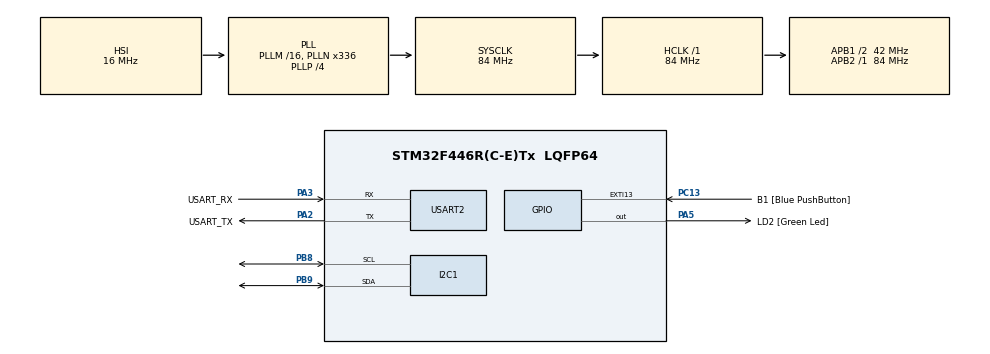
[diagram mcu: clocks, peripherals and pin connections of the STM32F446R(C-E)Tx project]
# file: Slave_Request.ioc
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Dma.I2C1_RX.0.Direction=DMA_PERIPH_TO_MEMORY
Dma.I2C1_RX.0.FIFOMode=DMA_FIFOMODE_DISABLE
Dma.I2C1_RX.0.Instance=DMA1_Stream0
Dma.I2C1_RX.0.MemDataAlignment=DMA_MDATAALIGN_BYTE
Dma.I2C1_RX.0.MemInc=DMA_MINC_ENABLE
Dma.I2C1_RX.0.Mode=DMA_NORMAL
Dma.I2C1_RX.0.PeriphDataAlignment=DMA_PDATAALIGN_BYTE
Dma.I2C1_RX.0.PeriphInc=DMA_PINC_DISABLE
Dma.I2C1_RX.0.Priority=DMA_PRIORITY_LOW
Dma.Request0=I2C1_RX
I2C1.OwnAddress=0x64
Mcu.Family=STM32F4
Mcu.Name=STM32F446R(C-E)Tx
Mcu.Package=LQFP64
NVIC.DMA1_Stream0_IRQn=true\:0\:0\:false\:false\:true\:false\:true\:true
NVIC.I2C1_ER_IRQn=true\:0\:0\:false\:false\:true\:true\:true\:true
NVIC.I2C1_EV_IRQn=true\:0\:0\:false\:false\:true\:true\:true\:true
NVIC.PriorityGroup=NVIC_PRIORITYGROUP_0
PA13.GPIO_Label=TMS
PA13.Mode=Serial_Wire
PA13.Signal=SYS_JTMS-SWDIO
PA14.GPIO_Label=TCK
PA14.Mode=Serial_Wire
PA14.Signal=SYS_JTCK-SWCLK
PA2.GPIO_Label=USART_TX
PA2.Mode=Asynchronous
PA2.Signal=USART2_TX
PA3.GPIO_Label=USART_RX
PA3.Mode=Asynchronous
PA3.Signal=USART2_RX
PA5.GPIO_Label=LD2 [Green Led]
PA5.Signal=GPIO_Output
PB3.GPIO_Label=SWO
PB3.Signal=SYS_JTDO-SWO
PB8.Mode=I2C
PB8.Signal=I2C1_SCL
PB9.Mode=I2C
PB9.Signal=I2C1_SDA
PC13.GPIO_Label=B1 [Blue PushButton]
PC13.GPIO_ModeDefaultEXTI=GPIO_MODE_IT_FALLING
PC13.Signal=GPXTI13
PC14-OSC32_IN.Mode=LSE-External-Oscillator
PC14-OSC32_IN.Signal=RCC_OSC32_IN
PC15-OSC32_OUT.Mode=LSE-External-Oscillator
PC15-OSC32_OUT.Signal=RCC_OSC32_OUT
PH0-OSC_IN.Mode=HSE-External-Oscillator
PH0-OSC_IN.Signal=RCC_OSC_IN
PH1-OSC_OUT.Mode=HSE-External-Oscillator
PH1-OSC_OUT.Signal=RCC_OSC_OUT
ProjectManager.HeapSize=0x200
ProjectManager.StackSize=0x400
ProjectManager.TargetToolchain=STM32CubeIDE
RCC.48MHZClocksFreq_Value=84000000
RCC.AHBFreq_Value=84000000
RCC.APB1CLKDivider=RCC_HCLK_DIV2
RCC.APB1Freq_Value=42000000
RCC.APB1TimFreq_Value=84000000
RCC.APB2Freq_Value=84000000
RCC.APB2TimFreq_Value=84000000
RCC.CortexFreq_Value=84000000
RCC.FLatency-AdvancedSettings=FLASH_LATENCY_2
RCC.HCLKFreq_Value=84000000
RCC.HSE_VALUE=8000000
RCC.HSI_VALUE=16000000
RCC.PLLN=336
RCC.PLLP=RCC_PLLP_DIV4
RCC.SYSCLKFreq_VALUE=84000000
RCC.SYSCLKSource=RCC_SYSCLKSOURCE_PLLCLK
RCC.USBFreq_Value=168000000
RCC.VCOOutputFreq_Value=336000000
USART2.VirtualMode=VM_ASYNC
board=NUCLEO-F446RE

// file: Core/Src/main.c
/* USER CODE BEGIN Header */
/**
  ******************************************************************************
  * @file           : main.c
  * @brief          : Main program body
  ******************************************************************************
  * @attention
  *
  * Copyright (c) 2025 STMicroelectronics.
  * All rights reserved.
  *
  * This software is licensed under terms that can be found in the LICENSE file
  * in the root directory of this software component.
  * If no LICENSE file comes with this software, it is provided AS-IS.
  *
  ******************************************************************************
  */
/* USER CODE END Header */
#include "main.h"

/* USER CODE BEGIN Includes */
#include <string.h>
#include <stdio.h>
/* USER CODE END Includes */

I2C_HandleTypeDef hi2c1;
DMA_HandleTypeDef hdma_i2c1_rx;

UART_HandleTypeDef huart2;

/* USER CODE BEGIN PV */
uint8_t rxBuffer[1];
uint8_t txBuffer[1] = {'?'};
volatile uint8_t readyToReply = 0;
/* USER CODE END PV */

void SystemClock_Config(void);
static void MX_GPIO_Init(void);
static void MX_DMA_Init(void);
static void MX_USART2_UART_Init(void);
static void MX_I2C1_Init(void);

int main(void)
{

  /* MCU Configuration--------------------------------------------------------*/

  /* Reset of all peripherals, Initializes the Flash interface and the Systick. */
  HAL_Init();

  /* Configure the system clock */
  SystemClock_Config();

  /* Initialize all configured peripherals */
  MX_GPIO_Init();
  MX_DMA_Init();
  MX_USART2_UART_Init();
  MX_I2C1_Init();
  /* USER CODE BEGIN 2 */
  const char *start = "[Slave] Listening...\r\n";
  HAL_UART_Transmit(&huart2, (uint8_t*)start, strlen(start), HAL_MAX_DELAY);

  HAL_I2C_EnableListen_IT(&hi2c1);
  /* USER CODE END 2 */

  /* Infinite loop */
  while (1)
  {

  }
}

void SystemClock_Config(void)
{
  RCC_OscInitTypeDef RCC_OscInitStruct = {0};
  RCC_ClkInitTypeDef RCC_ClkInitStruct = {0};

  /** Configure the main internal regulator output voltage
  */
  __HAL_RCC_PWR_CLK_ENABLE();
  __HAL_PWR_VOLTAGESCALING_CONFIG(PWR_REGULATOR_VOLTAGE_SCALE3);

  /** Initializes the RCC Oscillators according to the specified parameters
  * in the RCC_OscInitTypeDef structure.
  */
  RCC_OscInitStruct.OscillatorType = RCC_OSCILLATORTYPE_HSI;
  RCC_OscInitStruct.HSIState = RCC_HSI_ON;
  RCC_OscInitStruct.HSICalibrationValue = RCC_HSICALIBRATION_DEFAULT;
  RCC_OscInitStruct.PLL.PLLState = RCC_PLL_ON;
  RCC_OscInitStruct.PLL.PLLSource = RCC_PLLSOURCE_HSI;
  RCC_OscInitStruct.PLL.PLLM = 16;
  RCC_OscInitStruct.PLL.PLLN = 336;
  RCC_OscInitStruct.PLL.PLLP = RCC_PLLP_DIV4;
  RCC_OscInitStruct.PLL.PLLQ = 2;
  RCC_OscInitStruct.PLL.PLLR = 2;
  if (HAL_RCC_OscConfig(&RCC_OscInitStruct) != HAL_OK)
  {
    Error_Handler();
  }

  /** Initializes the CPU, AHB and APB buses clocks
  */
  RCC_ClkInitStruct.ClockType = RCC_CLOCKTYPE_HCLK|RCC_CLOCKTYPE_SYSCLK
                              |RCC_CLOCKTYPE_PCLK1|RCC_CLOCKTYPE_PCLK2;
  RCC_ClkInitStruct.SYSCLKSource = RCC_SYSCLKSOURCE_PLLCLK;
  RCC_ClkInitStruct.AHBCLKDivider = RCC_SYSCLK_DIV1;
  RCC_ClkInitStruct.APB1CLKDivider = RCC_HCLK_DIV2;
  RCC_ClkInitStruct.APB2CLKDivider = RCC_HCLK_DIV1;

  if (HAL_RCC_ClockConfig(&RCC_ClkInitStruct, FLASH_LATENCY_2) != HAL_OK)
  {
    Error_Handler();
  }
}

static void MX_I2C1_Init(void)
{

  hi2c1.Instance = I2C1;
  hi2c1.Init.ClockSpeed = 100000;
  hi2c1.Init.DutyCycle = I2C_DUTYCYCLE_2;
  hi2c1.Init.OwnAddress1 = 200;
  hi2c1.Init.AddressingMode = I2C_ADDRESSINGMODE_7BIT;
  hi2c1.Init.DualAddressMode = I2C_DUALADDRESS_DISABLE;
  hi2c1.Init.OwnAddress2 = 0;
  hi2c1.Init.GeneralCallMode = I2C_GENERALCALL_DISABLE;
  hi2c1.Init.NoStretchMode = I2C_NOSTRETCH_DISABLE;
  if (HAL_I2C_Init(&hi2c1) != HAL_OK)
  {
    Error_Handler();
  }

}

static void MX_USART2_UART_Init(void)
{

  huart2.Instance = USART2;
  huart2.Init.BaudRate = 115200;
  huart2.Init.WordLength = UART_WORDLENGTH_8B;
  huart2.Init.StopBits = UART_STOPBITS_1;
  huart2.Init.Parity = UART_PARITY_NONE;
  huart2.Init.Mode = UART_MODE_TX_RX;
  huart2.Init.HwFlowCtl = UART_HWCONTROL_NONE;
  huart2.Init.OverSampling = UART_OVERSAMPLING_16;
  if (HAL_UART_Init(&huart2) != HAL_OK)
  {
    Error_Handler();
  }

}

static void MX_DMA_Init(void)
{

  /* DMA controller clock enable */
  __HAL_RCC_DMA1_CLK_ENABLE();

  /* DMA interrupt init */
  /* DMA1_Stream0_IRQn interrupt configuration */
  HAL_NVIC_SetPriority(DMA1_Stream0_IRQn, 0, 0);
  HAL_NVIC_EnableIRQ(DMA1_Stream0_IRQn);

}

static void MX_GPIO_Init(void)
{
  GPIO_InitTypeDef GPIO_InitStruct = {0};

  /* GPIO Ports Clock Enable */
  __HAL_RCC_GPIOC_CLK_ENABLE();
  __HAL_RCC_GPIOH_CLK_ENABLE();
  __HAL_RCC_GPIOA_CLK_ENABLE();
  __HAL_RCC_GPIOB_CLK_ENABLE();

  /*Configure GPIO pin Output Level */
  HAL_GPIO_WritePin(LD2_GPIO_Port, LD2_Pin, GPIO_PIN_RESET);

  /*Configure GPIO pin : B1_Pin */
  GPIO_InitStruct.Pin = B1_Pin;
  GPIO_InitStruct.Mode = GPIO_MODE_IT_FALLING;
  GPIO_InitStruct.Pull = GPIO_NOPULL;
  HAL_GPIO_Init(B1_GPIO_Port, &GPIO_InitStruct);

  /*Configure GPIO pin : LD2_Pin */
  GPIO_InitStruct.Pin = LD2_Pin;
  GPIO_InitStruct.Mode = GPIO_MODE_OUTPUT_PP;
  GPIO_InitStruct.Pull = GPIO_NOPULL;
  GPIO_InitStruct.Speed = GPIO_SPEED_FREQ_LOW;
  HAL_GPIO_Init(LD2_GPIO_Port, &GPIO_InitStruct);

}

/* USER CODE BEGIN 4 */
void HAL_I2C_AddrCallback(I2C_HandleTypeDef *hi2c, uint8_t TransferDirection, uint16_t AddrMatchCode)
{
  if (TransferDirection == I2C_DIRECTION_TRANSMIT)
  {
    HAL_I2C_Slave_Seq_Receive_IT(hi2c, rxBuffer, 1, I2C_NEXT_FRAME);
  }
  else if (TransferDirection == I2C_DIRECTION_RECEIVE)
  {
    if (readyToReply)
    {
      HAL_GPIO_WritePin(GPIOA, GPIO_PIN_5, GPIO_PIN_SET);
      HAL_I2C_Slave_Seq_Transmit_IT(hi2c, txBuffer, 1, I2C_NEXT_FRAME);
      readyToReply = 0;  // Only reset after successful reply
    }
    else
    {
      uint8_t errorReply = '?';
      HAL_I2C_Slave_Seq_Transmit_IT(hi2c, &errorReply, 1, I2C_NEXT_FRAME);
    }
  }
}

void HAL_I2C_SlaveRxCpltCallback(I2C_HandleTypeDef *hi2c)
{
  if (rxBuffer[0] == 'A') {
    txBuffer[0] = 'B';
    readyToReply = 1;
    const char *msg = "[Slave] Got A, prepared B\r\n";
    HAL_UART_Transmit(&huart2, (uint8_t*)msg, strlen(msg), HAL_MAX_DELAY);
  } else {
    txBuffer[0] = '?';
    readyToReply = 1;
    const char *msg = "[Slave] Unknown command\r\n";
    HAL_UART_Transmit(&huart2, (uint8_t*)msg, strlen(msg), HAL_MAX_DELAY);
  }
}

void HAL_I2C_ListenCpltCallback(I2C_HandleTypeDef *hi2c)
{
  HAL_I2C_EnableListen_IT(hi2c);
  HAL_GPIO_WritePin(GPIOA, GPIO_PIN_5, GPIO_PIN_RESET);
  // NOTE: Do NOT reset readyToReply here anymore
}
/* USER CODE END 4 */

void Error_Handler(void)
{
  __disable_irq();
  while (1)
  {
  }
}
